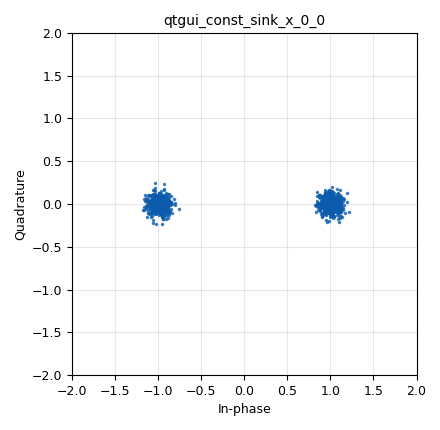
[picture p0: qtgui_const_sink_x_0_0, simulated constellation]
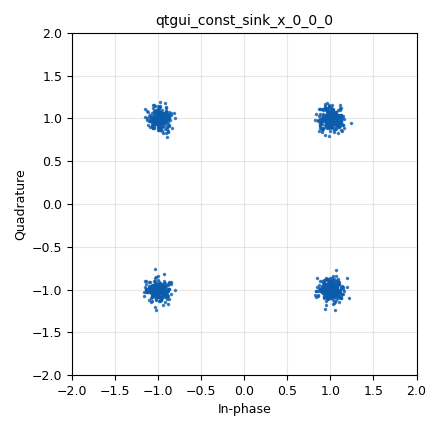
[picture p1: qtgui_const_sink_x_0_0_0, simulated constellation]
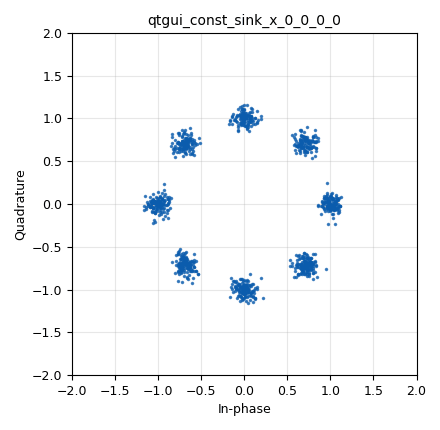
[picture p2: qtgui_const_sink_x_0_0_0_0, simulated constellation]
options:
  parameters:
    author: pawav
    generate_options: qt_gui
    id: todasPSK
    output_language: python
    title: Not titled yet
  states: {}

blocks:
- name: samp_rate
  id: variable
  parameters:
    value: '32000'
  states: {}
- name: analog_noise_source_x_0
  id: analog_noise_source_x
  parameters:
    amp: '0.1'
    noise_type: analog.GR_GAUSSIAN
    seed: '0'
    type: complex
  states: {}
- name: analog_noise_source_x_0_0
  id: analog_noise_source_x
  parameters:
    amp: '0.1'
    noise_type: analog.GR_GAUSSIAN
    seed: '0'
    type: complex
  states: {}
- name: analog_noise_source_x_0_0_0
  id: analog_noise_source_x
  parameters:
    amp: '0.1'
    noise_type: analog.GR_GAUSSIAN
    seed: '0'
    type: complex
  states: {}
- name: analog_random_source_x_0_0
  id: analog_random_source_x
  parameters:
    max: '2'
    min: '0'
    num_samps: '1000'
    repeat: 'True'
    type: int
  states: {}
- name: analog_random_source_x_0_0_0
  id: analog_random_source_x
  parameters:
    max: '2'
    min: '0'
    num_samps: '1000'
    repeat: 'True'
    type: int
  states: {}
- name: analog_random_source_x_0_0_0_0
  id: analog_random_source_x
  parameters:
    max: '2'
    min: '0'
    num_samps: '1000'
    repeat: 'True'
    type: int
  states: {}
- name: blocks_add_xx_0
  id: blocks_add_xx
  parameters:
    type: complex
  states: {}
- name: blocks_add_xx_0_0
  id: blocks_add_xx
  parameters:
    type: complex
  states: {}
- name: blocks_add_xx_0_0_0
  id: blocks_add_xx
  parameters:
    type: complex
  states: {}
- name: digital_chunks_to_symbols_xx_0_0
  id: digital_chunks_to_symbols_xx
  parameters:
    dimension: '1'
    in_type: int
    out_type: complex
    symbol_table: '[-1, 1]'
  states: {}
- name: digital_chunks_to_symbols_xx_0_0_0
  id: digital_chunks_to_symbols_xx
  parameters:
    dimension: '2'
    in_type: int
    out_type: complex
    symbol_table: '[-1-1j,-1+1j,1-1j,1+1j]'
  states: {}
- name: digital_chunks_to_symbols_xx_0_0_0_0
  id: digital_chunks_to_symbols_xx
  parameters:
    dimension: '4'
    in_type: int
    out_type: complex
    symbol_table: '[1+0j,0.707+0.707j,0+1j,-0.707+0.707j,-1+0j,-0.707-0.707j,0-1j,0.707-0.707j]'
  states: {}
- name: note_0_0
  id: note
  parameters:
    note: BPSK
  states: {}
- name: note_0_0_0
  id: note
  parameters:
    note: QPSK
  states: {}
- name: note_0_0_0_0
  id: note
  parameters:
    note: 8PSK
  states: {}
- name: qtgui_const_sink_x_0_0
  id: qtgui_const_sink_x
  parameters:
    size: '1024'
    type: complex
  states: {}
- name: qtgui_const_sink_x_0_0_0
  id: qtgui_const_sink_x
  parameters:
    size: '1024'
    type: complex
  states: {}
- name: qtgui_const_sink_x_0_0_0_0
  id: qtgui_const_sink_x
  parameters:
    size: '1024'
    type: complex
  states: {}

connections:
- [analog_noise_source_x_0, '0', blocks_add_xx_0, '1']
- [analog_noise_source_x_0_0, '0', blocks_add_xx_0_0, '1']
- [analog_noise_source_x_0_0_0, '0', blocks_add_xx_0_0_0, '1']
- [analog_random_source_x_0_0, '0', digital_chunks_to_symbols_xx_0_0, '0']
- [analog_random_source_x_0_0_0, '0', digital_chunks_to_symbols_xx_0_0_0, '0']
- [analog_random_source_x_0_0_0_0, '0', digital_chunks_to_symbols_xx_0_0_0_0, '0']
- [blocks_add_xx_0, '0', qtgui_const_sink_x_0_0, '0']
- [blocks_add_xx_0_0, '0', qtgui_const_sink_x_0_0_0, '0']
- [blocks_add_xx_0_0_0, '0', qtgui_const_sink_x_0_0_0_0, '0']
- [digital_chunks_to_symbols_xx_0_0, '0', blocks_add_xx_0, '0']
- [digital_chunks_to_symbols_xx_0_0_0, '0', blocks_add_xx_0_0, '0']
- [digital_chunks_to_symbols_xx_0_0_0_0, '0', blocks_add_xx_0_0_0, '0']

metadata:
  file_format: 1
  grc_version: 3.10.12.0
